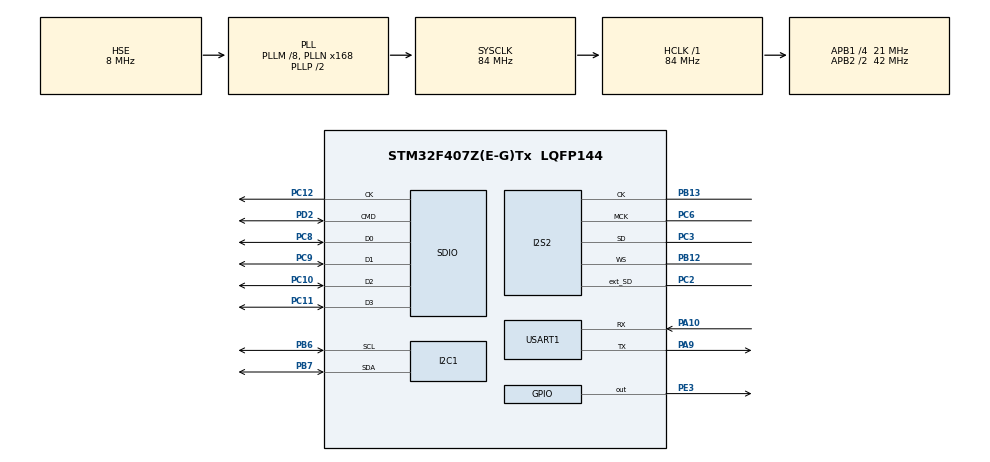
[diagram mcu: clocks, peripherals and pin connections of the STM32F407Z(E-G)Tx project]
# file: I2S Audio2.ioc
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Dma.Request0=SPI2_TX
Dma.Request1=SDIO_RX
Dma.Request2=SDIO_TX
Dma.SDIO_RX.1.Direction=DMA_PERIPH_TO_MEMORY
Dma.SDIO_RX.1.FIFOMode=DMA_FIFOMODE_ENABLE
Dma.SDIO_RX.1.FIFOThreshold=DMA_FIFO_THRESHOLD_FULL
Dma.SDIO_RX.1.Instance=DMA2_Stream3
Dma.SDIO_RX.1.MemBurst=DMA_MBURST_INC4
Dma.SDIO_RX.1.MemDataAlignment=DMA_MDATAALIGN_WORD
Dma.SDIO_RX.1.MemInc=DMA_MINC_ENABLE
Dma.SDIO_RX.1.Mode=DMA_PFCTRL
Dma.SDIO_RX.1.PeriphBurst=DMA_PBURST_INC4
Dma.SDIO_RX.1.PeriphDataAlignment=DMA_PDATAALIGN_WORD
Dma.SDIO_RX.1.PeriphInc=DMA_PINC_DISABLE
Dma.SDIO_RX.1.Priority=DMA_PRIORITY_LOW
Dma.SDIO_TX.2.Direction=DMA_MEMORY_TO_PERIPH
Dma.SDIO_TX.2.FIFOMode=DMA_FIFOMODE_ENABLE
Dma.SDIO_TX.2.FIFOThreshold=DMA_FIFO_THRESHOLD_FULL
Dma.SDIO_TX.2.Instance=DMA2_Stream6
Dma.SDIO_TX.2.MemBurst=DMA_MBURST_INC4
Dma.SDIO_TX.2.MemDataAlignment=DMA_MDATAALIGN_WORD
Dma.SDIO_TX.2.MemInc=DMA_MINC_ENABLE
Dma.SDIO_TX.2.Mode=DMA_PFCTRL
Dma.SDIO_TX.2.PeriphBurst=DMA_PBURST_INC4
Dma.SDIO_TX.2.PeriphDataAlignment=DMA_PDATAALIGN_WORD
Dma.SDIO_TX.2.PeriphInc=DMA_PINC_DISABLE
Dma.SDIO_TX.2.Priority=DMA_PRIORITY_LOW
Dma.SPI2_TX.0.Direction=DMA_MEMORY_TO_PERIPH
Dma.SPI2_TX.0.FIFOMode=DMA_FIFOMODE_DISABLE
Dma.SPI2_TX.0.Instance=DMA1_Stream4
Dma.SPI2_TX.0.MemDataAlignment=DMA_MDATAALIGN_HALFWORD
Dma.SPI2_TX.0.MemInc=DMA_MINC_ENABLE
Dma.SPI2_TX.0.Mode=DMA_NORMAL
Dma.SPI2_TX.0.PeriphDataAlignment=DMA_PDATAALIGN_HALFWORD
Dma.SPI2_TX.0.PeriphInc=DMA_PINC_DISABLE
Dma.SPI2_TX.0.Priority=DMA_PRIORITY_LOW
FATFS.USE_DMA_CODE_SD=1
FATFS._CODE_PAGE=936
FATFS._USE_CHMOD=1
FATFS._USE_LFN=2
I2S2.AudioFreq=I2S_AUDIOFREQ_16K
I2S2.DataFormat=I2S_DATAFORMAT_16B
I2S2.ErrorAudioFreq=2.35 %
I2S2.FullDuplexMode=I2S_FULLDUPLEXMODE_ENABLE
I2S2.Instance=SPI$Index
I2S2.RealAudioFreq=16.376 KHz
I2S2.VirtualMode=I2S_MODE_MASTER
Mcu.Family=STM32F4
Mcu.Name=STM32F407Z(E-G)Tx
Mcu.Package=LQFP144
NVIC.DMA1_Stream4_IRQn=true\:0\:0\:false\:false\:true\:false\:true
NVIC.DMA2_Stream3_IRQn=true\:3\:0\:true\:false\:true\:false\:true
NVIC.DMA2_Stream6_IRQn=true\:3\:0\:true\:false\:true\:false\:true
NVIC.PriorityGroup=NVIC_PRIORITYGROUP_4
NVIC.SDIO_IRQn=true\:2\:0\:true\:false\:true\:true\:true
PA10.Mode=Asynchronous
PA10.Signal=USART1_RX
PA9.Mode=Asynchronous
PA9.Signal=USART1_TX
PB12.Mode=Full_Duplex_Master
PB12.Signal=I2S2_WS
PB13.Mode=Full_Duplex_Master
PB13.Signal=I2S2_CK
PB6.GPIO_Pu=GPIO_PULLUP
PB6.Mode=I2C
PB6.Signal=I2C1_SCL
PB7.GPIO_Pu=GPIO_PULLUP
PB7.Mode=I2C
PB7.Signal=I2C1_SDA
PC10.Mode=SD_4_bits_Wide_bus
PC10.Signal=SDIO_D2
PC11.Mode=SD_4_bits_Wide_bus
PC11.Signal=SDIO_D3
PC12.Mode=SD_4_bits_Wide_bus
PC12.Signal=SDIO_CK
PC14-OSC32_IN.Mode=LSE-External-Oscillator
PC14-OSC32_IN.Signal=RCC_OSC32_IN
PC15-OSC32_OUT.Mode=LSE-External-Oscillator
PC15-OSC32_OUT.Signal=RCC_OSC32_OUT
PC2.Mode=Full_Duplex_Master
PC2.Signal=I2S2_ext_SD
PC3.Mode=Full_Duplex_Master
PC3.Signal=I2S2_SD
PC6.Mode=Master_Clock_Activated
PC6.Signal=I2S2_MCK
PC8.Mode=SD_4_bits_Wide_bus
PC8.Signal=SDIO_D0
PC9.Mode=SD_4_bits_Wide_bus
PC9.Signal=SDIO_D1
PD2.Mode=SD_4_bits_Wide_bus
PD2.Signal=SDIO_CMD
PE3.GPIO_PuPd=GPIO_PULLUP
PE3.Signal=GPIO_Output
PH0-OSC_IN.Mode=HSE-External-Oscillator
PH0-OSC_IN.Signal=RCC_OSC_IN
PH1-OSC_OUT.Mode=HSE-External-Oscillator
PH1-OSC_OUT.Signal=RCC_OSC_OUT
ProjectManager.HeapSize=0x200
ProjectManager.StackSize=0x400
ProjectManager.TargetToolchain=STM32CubeIDE
RCC.48MHZClocksFreq_Value=24000000
RCC.AHBFreq_Value=84000000
RCC.APB1CLKDivider=RCC_HCLK_DIV4
RCC.APB1Freq_Value=21000000
RCC.APB1TimCLKDivider=1
RCC.APB1TimFreq_Value=21000000
RCC.APB2CLKDivider=RCC_HCLK_DIV2
RCC.APB2Freq_Value=42000000
RCC.APB2TimFreq_Value=84000000
RCC.CortexFreq_Value=84000000
RCC.DATA_CACHE_ENABLE=1
RCC.HCLKFreq_Value=84000000
RCC.HSE_VALUE=8000000
RCC.HSI_VALUE=16000000
RCC.PLLI2SN=109
RCC.PLLM=8
RCC.PLLN=168
RCC.PLLQ=7
RCC.PLLSourceVirtual=RCC_PLLSOURCE_HSE
RCC.RCC_RTC_Clock_Source=RCC_RTCCLKSOURCE_LSE
RCC.RCC_RTC_Clock_SourceVirtual=RCC_RTCCLKSOURCE_LSE
RCC.SYSCLKFreq_VALUE=84000000
RCC.SYSCLKSource=RCC_SYSCLKSOURCE_PLLCLK
RCC.VCOOutputFreq_Value=168000000
RTC.Date=16
RTC.Hours=8
RTC.Month=RTC_MONTH_MAY
RTC.Year=22
SDIO.ClockDiv=5
SDIO.HardwareFlowControl=SDIO_HARDWARE_FLOW_CONTROL_ENABLE
USART1.VirtualMode=VM_ASYNC
VP_FATFS_VS_SDIO.Mode=SDIO
VP_RTC_VS_RTC_Activate.Mode=RTC_Enabled
VP_RTC_VS_RTC_Calendar.Mode=RTC_Calendar
board=custom

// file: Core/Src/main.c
/* USER CODE BEGIN Header */
/**
 ******************************************************************************
 * @file           : main.c
 * @brief          : Main program body
 ******************************************************************************
 * @attention
 *
 * <h2><center>&copy; Copyright (c) 2020 STMicroelectronics.
 * All rights reserved.</center></h2>
 *
 * This software component is licensed by ST under BSD 3-Clause license,
 * the "License"; You may not use this file except in compliance with the
 * License. You may obtain a copy of the License at:
 *                        opensource.org/licenses/BSD-3-Clause
 *
 ******************************************************************************
 */
/* USER CODE END Header */
#include "main.h"
#include "fatfs.h"

/* USER CODE BEGIN Includes */
#include <stdio.h>
#include <string.h>
#include "audio_player.h"
#include "delay.h"
#include "i2s.h"
#include "malloc.h"
/* USER CODE END Includes */

I2C_HandleTypeDef hi2c1;

I2S_HandleTypeDef hi2s2;
DMA_HandleTypeDef hdma_spi2_tx;

RTC_HandleTypeDef hrtc;

SD_HandleTypeDef hsd;
DMA_HandleTypeDef hdma_sdio_rx;
DMA_HandleTypeDef hdma_sdio_tx;

UART_HandleTypeDef huart1;

/* USER CODE BEGIN PV */
typedef __packed struct {
	uint32_t ChunkID;
	uint32_t ChunkSize;
	uint32_t Format;
} ChunkRIFF;
//fmt驴茅
typedef __packed struct {
	uint32_t ChunkID;
	uint32_t ChunkSize;
	uint16_t AudioFormat;
	uint16_t NumOfChannels;
	uint32_t SampleRate;
	uint32_t ByteRate;
	uint16_t BlockAlign;
	uint16_t BitsPerSample;
//	uint16_t ByteExtraData;
} ChunkFMT;
//fact驴茅
typedef __packed struct {
	uint32_t ChunkID;
	uint32_t ChunkSize;
	uint32_t NumOfSamples;
} ChunkFACT;
//LIST驴茅
typedef __packed struct {
	uint32_t ChunkID;
	uint32_t ChunkSize;
} ChunkLIST;

//data驴茅
typedef __packed struct {
	uint32_t ChunkID;
	uint32_t ChunkSize;
} ChunkDATA;
typedef __packed struct {
	ChunkRIFF riff;
	ChunkFMT fmt;
//	ChunkFACT fact;
	ChunkDATA data;
} __WaveHeader;

void recoder_wav_init(__WaveHeader* wavhead)
{
	wavhead->riff.ChunkID = 0X46464952;
	wavhead->riff.ChunkSize = 0;
	wavhead->riff.Format = 0X45564157;
	wavhead->fmt.ChunkID = 0X20746D66;
	wavhead->fmt.ChunkSize = 16;
	wavhead->fmt.AudioFormat = 0X01;
	wavhead->fmt.NumOfChannels = 2;
	wavhead->fmt.SampleRate = 16000;
	wavhead->fmt.ByteRate = wavhead->fmt.SampleRate * 4;
	wavhead->fmt.BlockAlign = 4;
	wavhead->fmt.BitsPerSample = 16;
	wavhead->data.ChunkID = 0X61746164;
	wavhead->data.ChunkSize = 0;
}
int file_num = 10;

char names[FILE_SIZE][33];
int file_index = 0;

FIL *ftemp=NULL;	  		//脦脛录镁2.

//  uint8_t res=f_open(ftemp,names[file_index],FA_READ);
//  		      if(res==FR_NO_FILE){
//
//  		      }else{
//  		      f_unlink(names[file_index]);
//  		      }
/* USER CODE END PV */

void SystemClock_Config(void);
static void MX_GPIO_Init(void);
static void MX_DMA_Init(void);
static void MX_I2C1_Init(void);
static void MX_I2S2_Init(void);
static void MX_USART1_UART_Init(void);
static void MX_SDIO_SD_Init(void);
static void MX_RTC_Init(void);

/* USER CODE BEGIN 0 */
FIL *f_rec=NULL;
int count_t = 0;
int end_t = 0;
char lt[40];
char *lt2=NULL;
uint8_t *i2srecbuf1=NULL;
uint8_t *i2srecbuf2=NULL;
uint16_t I2S_Buf0[4096] = { 0 };
uint16_t I2S_Buf1[4096] = { 0 };
uint32_t wavsize;
FILINFO *fno=NULL;
uint16_t bw3;
void rec_i2s_dma_rx_callback(void) {
	if (DMA1_Stream3->CR & (1 << 19)) {
		f_write(f_rec, i2srecbuf1, 4096, (UINT*) &bw3);
		f_sync(f_rec);

		if ((count_t % 40) == 0) {

				HAL_GPIO_TogglePin(GPIOE, GPIO_PIN_3);
			}

	} else {
	 f_write(f_rec, i2srecbuf2, 4096, (UINT*) &bw3);		//脨麓脠毛脦脛录镁
		f_sync(f_rec);

	}
	wavsize += I2S_RX_DMA_BUF_SIZE;

	count_t += 1;

	if (count_t == RECORDER_MAX_CIRCLE) {

		end_t = 1;
		count_t=0;

		HAL_GPIO_TogglePin(GPIOE, GPIO_PIN_3);
	}

}
char * joint3(char*s1,char*s2){

	char*result=malloc(strlen(s1)+strlen(s2)+1+2);
	if(result==NULL)exit(1);
	strcpy(result,s1);
	strcat(result,"\\");
	strcat(result,s2);
	return result;
}

FRESULT delete_files (char* path)
{
    FRESULT res;
    DIR dir;
    UINT i;
    FIL *ftemp2=NULL;	  		//脦脛录镁2.

    static FILINFO fno;
	static uint8_t layerDeeph=0;
	uint8_t j;
	char *file_path;
    res = f_opendir(&dir, path);
    if (res == FR_OK)
		layerDeeph+=4;
        for (;;)
		{
            res = f_readdir(&dir, &fno);
            if (res != FR_OK || fno.fname[0] == 0)
				break;
            if (fno.fattrib & AM_DIR)
			{
                i = strlen(path);
                sprintf(&path[i], "/%s", fno.fname);
				for(j=0;j<layerDeeph;j++)
					printf(" ");
               // res = scan_files(path);
              //  if (res != FR_OK) break;
                path[i] = 0;
            }
			else
			{
//				for(j=0;j<layerDeeph;j++)
//					printf(" ");
                printf("====>%s\r\n",fno.fname);
                file_path=joint3(path,fno.fname);
                uint8_t res2= f_open(ftemp2,file_path,FA_OPEN_ALWAYS | FA_WRITE|FA_READ);

                if(res2==FR_NO_FILE){

                         }else{
                             res2= f_unlink(file_path);

                            printf("delete status %d ",res2);

                         }
                break;

            }
}
            //char *file_path=joint3(path,fno.fname);
            printf("file +++path %s\r\n",file_path);

            f_close(ftemp2);
            free(file_path);
            f_closedir(&dir);

        //}
		layerDeeph-=4;

    return res;
}

FRESULT scan_files (char* path)
{
    FRESULT res;
    DIR dir;
    static FILINFO fno;
	static uint8_t layerDeeph=0;
    res = f_opendir(&dir, path);
    if (res == FR_OK)
	{
		layerDeeph+=4;
        for (;;)
		{
            res = f_readdir(&dir, &fno);
            if (res != FR_OK || fno.fname[0] == 0)
				break;
            if (fno.fattrib & AM_DIR)
			{

            }
			else
			{

                printf("scan file %s\r\n",fno.fname);
            }
        }
        f_closedir(&dir);
		layerDeeph-=4;
    }

    return res;
}

const uint16_t i2splaybuf[2] = { 0X0000, 0X0000 };//2赂枚16脦禄脢媒戮脻,脫脙脫脷脗录脪么脢卤I2S Master路垄脣脥.脩颅禄路路垄脣脥0.
FRESULT set_timestamp(char *obj, /* Pointer to the file name */
int year, int month, int mday, int hour, int min, int sec) {

	fno->fdate = (WORD) (((year - 1980) * 512U) | month * 32U | mday);
	fno->ftime = (WORD) (hour * 2048U | min * 32U | sec / 2U);
	retSD = f_utime(obj, fno);
	return retSD;
}

/* USER CODE END 0 */

int main(void) {

	/* MCU Configuration--------------------------------------------------------*/

	/* Reset of all peripherals, Initializes the Flash interface and the Systick. */
	HAL_Init();

	/* Configure the system clock */
	SystemClock_Config();

	/* Initialize all configured peripherals */
	MX_GPIO_Init();
	MX_DMA_Init();
	MX_I2C1_Init();
	MX_I2S2_Init();
	MX_USART1_UART_Init();
	MX_SDIO_SD_Init();
	MX_FATFS_Init();
	MX_RTC_Init();
	/* USER CODE BEGIN 2 */

	RTC_DateTypeDef sdatestructure;
	RTC_TimeTypeDef stimestructure;
	HAL_Delay(1000);
	Audio_Player_Init();
	WM8978_HPvol_Set(40, 40);
	WM8978_SPKvol_Set(50);
	HAL_Delay(1000);
	WM8978_ADDA_Cfg(0, 1);
	WM8978_Input_Cfg(1, 1, 0);
	WM8978_Output_Cfg(0, 1);
	WM8978_MIC_Gain(46);
	WM8978_I2S_Cfg(2, 0);
	my_mem_init(SRAMIN);

	FATFS fs;
	f_mount(&fs, "0", 1);
	f_mkdir("0:\\etcdh");
	printf("just a function");
	//delete_files("0:\\etcdh");

	//scan_files("0:\\etcdh");
	int abc[2]={300,400};
	delay_ms(2500);

	i2srecbuf1 = mymalloc(SRAMIN, I2S_RX_DMA_BUF_SIZE);
	i2srecbuf2 = mymalloc(SRAMIN, I2S_RX_DMA_BUF_SIZE);
	I2S2_Init(I2S_STANDARD_PHILIPS, I2S_MODE_MASTER_TX, I2S_CPOL_LOW,
	I2S_DATAFORMAT_16B);
	I2S2_SampleRate_Set(16000);
	I2S2_TX_DMA_Init((uint8_t*) &i2splaybuf[0], (uint8_t*) &i2splaybuf[1], 1);
	DMA1_Stream4->CR &= ~(1 << 4);
	I2S2ext_RX_DMA_Init(i2srecbuf1, i2srecbuf2, 2048);
	i2s_rx_callback = rec_i2s_dma_rx_callback;
	__WaveHeader *wavhead=0;

	uint16_t bw;
	uint8_t res;
	int status = 0;
	ftemp = (FIL*) mymalloc(SRAMIN, sizeof(FIL));

	//f_close(f_rec);

	/* USER CODE END 2 */

	/* Infinite loop */
	while (1) {

		/* USER CODE BEGIN 3 */

		switch (end_t) {
		case 0:
			if (file_index < FILE_SIZE) {
				if (status == 0) {
					HAL_GPIO_TogglePin(GPIOE, GPIO_PIN_3);
					f_rec = (FIL*) mymalloc(SRAMIN, sizeof(FIL));
					I2S_Play_Start();
					I2S_Rec_Start();
					HAL_RTC_GetTime(&hrtc, &stimestructure, RTC_FORMAT_BIN);
					HAL_RTC_GetDate(&hrtc, &sdatestructure, RTC_FORMAT_BIN);
					fno = (FILINFO*) mymalloc(SRAMIN, sizeof(FILINFO));	//脦陋ftemp脡锚脟毛脛脷麓忙
					/* Display date Format : yy/mm/dd */
					lt2=(char*)malloc(40*sizeof(char));
					sprintf(lt2, "0:\\etcdh\\%02d-%02d-%02d_%02d_%02d_%02d.wav",
							2000 + sdatestructure.Year, sdatestructure.Month,
							sdatestructure.Date, stimestructure.Hours,
							stimestructure.Minutes, stimestructure.Seconds);
					/* Display time Format : hh:mm:ss */
					f_open(ftemp, lt2, FA_READ);

					if (res == FR_NO_FILE) {

					} else {
						f_close(ftemp);
						set_timestamp(lt2,
														2000 + sdatestructure.Year, sdatestructure.Month,
														sdatestructure.Date, stimestructure.Hours,
														stimestructure.Minutes, stimestructure.Seconds);
						//res = f_unlink(lt2);

						printf("file_index %d\r\n", file_index);
					}
					wavhead = (__WaveHeader*) mymalloc(SRAMIN,sizeof(__WaveHeader ));
					recoder_wav_init(wavhead);
					f_open(f_rec, lt2,
							FA_CREATE_ALWAYS | FA_WRITE);
					retSD = f_write(f_rec, (const void*) wavhead,
							sizeof(__WaveHeader ),(void *) &bw);
					file_index += 1;
					status = 1;
				}
			} else {
				//delete first file
				scan_files("0:\\etcdh");

				delete_files("0:\\etcdh");

				file_index-=1;

			}
			break;

		case 1:

			wavhead->riff.ChunkSize = wavsize + 36;		//脮没赂枚脦脛录镁碌脛麓贸脨隆-8;
			wavhead->data.ChunkSize = wavsize;		//脢媒戮脻麓贸脨隆
			f_lseek(f_rec, 0);						//脝芦脪脝碌陆脦脛录镁脥路.
			f_write(f_rec, (const void*) wavhead, sizeof(__WaveHeader ), (void *)&bw);//脨麓脠毛脥路脢媒戮脻

			/* Display date Format : yy/mm/dd */
			//   sprintf(lt,"0:\\etcdh\\%02d-%02d-%02d_%02d_%02d_%02d.wav",2000 + sdatestructure.Year, sdatestructure.Month, sdatestructure.Date,stimestructure.Hours, stimestructure.Minutes, stimestructure.Seconds);
			f_close(f_rec);
			set_timestamp(lt2,2000 + sdatestructure.Year, sdatestructure.Month,
															sdatestructure.Date, stimestructure.Hours,
															stimestructure.Minutes, stimestructure.Seconds);
			free(lt2);
			myfree(SRAMIN, f_rec);		//脢脥路脜脛脷麓忙
			myfree(SRAMIN, wavhead);
			myfree(SRAMIN, fno);
			I2S_Rec_Stop();
			end_t = 0;
			count_t = 0;
			status = 0;
			break;

		}

		delay_ms(5);
	}
	/* USER CODE END 3 */
}

void SystemClock_Config(void) {
	RCC_OscInitTypeDef RCC_OscInitStruct = { 0 };
	RCC_ClkInitTypeDef RCC_ClkInitStruct = { 0 };

	/** Configure the main internal regulator output voltage
	 */
	__HAL_RCC_PWR_CLK_ENABLE();
	__HAL_PWR_VOLTAGESCALING_CONFIG(PWR_REGULATOR_VOLTAGE_SCALE1);
	/** Initializes the RCC Oscillators according to the specified parameters
	 * in the RCC_OscInitTypeDef structure.
	 */
	RCC_OscInitStruct.OscillatorType = RCC_OSCILLATORTYPE_HSE
			| RCC_OSCILLATORTYPE_LSE;
	RCC_OscInitStruct.HSEState = RCC_HSE_ON;
	RCC_OscInitStruct.LSEState = RCC_LSE_ON;
	RCC_OscInitStruct.PLL.PLLState = RCC_PLL_ON;
	RCC_OscInitStruct.PLL.PLLSource = RCC_PLLSOURCE_HSE;
	RCC_OscInitStruct.PLL.PLLM = 8;
	RCC_OscInitStruct.PLL.PLLN = 168;
	RCC_OscInitStruct.PLL.PLLP = RCC_PLLP_DIV2;
	RCC_OscInitStruct.PLL.PLLQ = 7;
	if (HAL_RCC_OscConfig(&RCC_OscInitStruct) != HAL_OK) {
		Error_Handler();
	}
	/** Initializes the CPU, AHB and APB buses clocks
	 */
	RCC_ClkInitStruct.ClockType = RCC_CLOCKTYPE_HCLK | RCC_CLOCKTYPE_SYSCLK
			| RCC_CLOCKTYPE_PCLK1 | RCC_CLOCKTYPE_PCLK2;
	RCC_ClkInitStruct.SYSCLKSource = RCC_SYSCLKSOURCE_PLLCLK;
	RCC_ClkInitStruct.AHBCLKDivider = RCC_SYSCLK_DIV1;
	RCC_ClkInitStruct.APB1CLKDivider = RCC_HCLK_DIV4;
	RCC_ClkInitStruct.APB2CLKDivider = RCC_HCLK_DIV2;

	if (HAL_RCC_ClockConfig(&RCC_ClkInitStruct, FLASH_LATENCY_2) != HAL_OK) {
		Error_Handler();
	}
}

static void MX_I2C1_Init(void) {

	hi2c1.Instance = I2C1;
	hi2c1.Init.ClockSpeed = 100000;
	hi2c1.Init.DutyCycle = I2C_DUTYCYCLE_2;
	hi2c1.Init.OwnAddress1 = 0;
	hi2c1.Init.AddressingMode = I2C_ADDRESSINGMODE_7BIT;
	hi2c1.Init.DualAddressMode = I2C_DUALADDRESS_DISABLE;
	hi2c1.Init.OwnAddress2 = 0;
	hi2c1.Init.GeneralCallMode = I2C_GENERALCALL_DISABLE;
	hi2c1.Init.NoStretchMode = I2C_NOSTRETCH_DISABLE;
	if (HAL_I2C_Init(&hi2c1) != HAL_OK) {
		Error_Handler();
	}

}

static void MX_I2S2_Init(void) {

	hi2s2.Instance = SPI2;
	hi2s2.Init.Mode = I2S_MODE_MASTER_TX;
	hi2s2.Init.Standard = I2S_STANDARD_PHILIPS;
	hi2s2.Init.DataFormat = I2S_DATAFORMAT_16B;
	hi2s2.Init.MCLKOutput = I2S_MCLKOUTPUT_ENABLE;
	hi2s2.Init.AudioFreq = I2S_AUDIOFREQ_16K;
	hi2s2.Init.CPOL = I2S_CPOL_LOW;
	hi2s2.Init.ClockSource = I2S_CLOCK_PLL;
	hi2s2.Init.FullDuplexMode = I2S_FULLDUPLEXMODE_ENABLE;
	if (HAL_I2S_Init(&hi2s2) != HAL_OK) {
		Error_Handler();
	}

}

static void MX_RTC_Init(void) {

	RTC_TimeTypeDef sTime = { 0 };
	RTC_DateTypeDef sDate = { 0 };

	/** Initialize RTC Only
	 */
	hrtc.Instance = RTC;
	hrtc.Init.HourFormat = RTC_HOURFORMAT_24;
	hrtc.Init.AsynchPrediv = 127;
	hrtc.Init.SynchPrediv = 255;
	hrtc.Init.OutPut = RTC_OUTPUT_DISABLE;
	hrtc.Init.OutPutPolarity = RTC_OUTPUT_POLARITY_HIGH;
	hrtc.Init.OutPutType = RTC_OUTPUT_TYPE_OPENDRAIN;
	if (HAL_RTC_Init(&hrtc) != HAL_OK) {
		Error_Handler();
	}

	/** Initialize RTC and set the Time and Date
	 */
	sTime.Hours = 0x8;
	sTime.Minutes = 0x0;
	sTime.Seconds = 0x0;
	sTime.DayLightSaving = RTC_DAYLIGHTSAVING_NONE;
	sTime.StoreOperation = RTC_STOREOPERATION_RESET;
	if (HAL_OK != HAL_OK) {
		Error_Handler();
	}
	sDate.WeekDay = RTC_WEEKDAY_MONDAY;
	sDate.Month = RTC_MONTH_MAY;
	sDate.Date = 0x16;
	sDate.Year = 0x22;

	if (HAL_OK != HAL_OK) {
		Error_Handler();
	}

}

static void MX_SDIO_SD_Init(void) {

	hsd.Instance = SDIO;
	hsd.Init.ClockEdge = SDIO_CLOCK_EDGE_RISING;
	hsd.Init.ClockBypass = SDIO_CLOCK_BYPASS_DISABLE;
	hsd.Init.ClockPowerSave = SDIO_CLOCK_POWER_SAVE_DISABLE;
	hsd.Init.BusWide = SDIO_BUS_WIDE_1B;
	hsd.Init.HardwareFlowControl = SDIO_HARDWARE_FLOW_CONTROL_ENABLE;
	hsd.Init.ClockDiv = 5;

}

static void MX_USART1_UART_Init(void) {

	huart1.Instance = USART1;
	huart1.Init.BaudRate = 115200;
	huart1.Init.WordLength = UART_WORDLENGTH_8B;
	huart1.Init.StopBits = UART_STOPBITS_1;
	huart1.Init.Parity = UART_PARITY_NONE;
	huart1.Init.Mode = UART_MODE_TX_RX;
	huart1.Init.HwFlowCtl = UART_HWCONTROL_NONE;
	huart1.Init.OverSampling = UART_OVERSAMPLING_16;
	if (HAL_UART_Init(&huart1) != HAL_OK) {
		Error_Handler();
	}

}

static void MX_DMA_Init(void) {

	/* DMA controller clock enable */
	__HAL_RCC_DMA1_CLK_ENABLE();
	__HAL_RCC_DMA2_CLK_ENABLE();

	/* DMA interrupt init */
	/* DMA1_Stream4_IRQn interrupt configuration */
	HAL_NVIC_SetPriority(DMA1_Stream4_IRQn, 0, 0);
	HAL_NVIC_EnableIRQ(DMA1_Stream4_IRQn);
	/* DMA2_Stream3_IRQn interrupt configuration */
	HAL_NVIC_SetPriority(DMA2_Stream3_IRQn, 3, 0);
	HAL_NVIC_EnableIRQ(DMA2_Stream3_IRQn);
	/* DMA2_Stream6_IRQn interrupt configuration */
	HAL_NVIC_SetPriority(DMA2_Stream6_IRQn, 3, 0);
	HAL_NVIC_EnableIRQ(DMA2_Stream6_IRQn);

}

static void MX_GPIO_Init(void) {
	GPIO_InitTypeDef GPIO_InitStruct = { 0 };

	/* GPIO Ports Clock Enable */
	__HAL_RCC_GPIOE_CLK_ENABLE();
	__HAL_RCC_GPIOC_CLK_ENABLE();
	__HAL_RCC_GPIOH_CLK_ENABLE();
	__HAL_RCC_GPIOB_CLK_ENABLE();
	__HAL_RCC_GPIOA_CLK_ENABLE();
	__HAL_RCC_GPIOD_CLK_ENABLE();

	/*Configure GPIO pin Output Level */
	HAL_GPIO_WritePin(GPIOE, GPIO_PIN_3, GPIO_PIN_RESET);

	/*Configure GPIO pin : PE3 */
	GPIO_InitStruct.Pin = GPIO_PIN_3;
	GPIO_InitStruct.Mode = GPIO_MODE_OUTPUT_PP;
	GPIO_InitStruct.Pull = GPIO_PULLUP;
	GPIO_InitStruct.Speed = GPIO_SPEED_FREQ_LOW;
	HAL_GPIO_Init(GPIOE, &GPIO_InitStruct);

}

/* USER CODE BEGIN 4 */
int __io_putchar(int ch) {
	HAL_UART_Transmit(&huart1, (uint8_t*) &ch, 1, 1000);
	return ch;
}
/* USER CODE END 4 */

void Error_Handler(void) {
}

#ifdef  USE_FULL_ASSERT
		/**
		  * @brief  Reports the name of the source file and the source line number
		  *         where the assert_param error has occurred.
		  * @param  file: pointer to the source file name
		  * @param  line: assert_param error line source number
		  * @retval None
		  */
		void assert_failed(uint8_t *file, uint32_t line)
		{
		}
		#endif /* USE_FULL_ASSERT */
